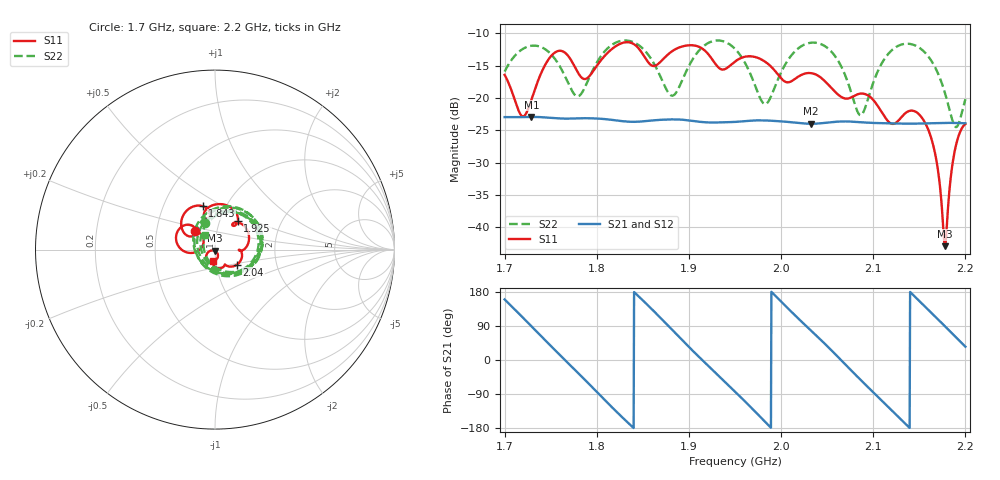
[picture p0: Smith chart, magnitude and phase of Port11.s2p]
# Hz S RI R 50
! CMT, CMT808U, 21440046, 21.4.3/4
! Date: 6/12/2026 9:35:09 AM
! Data: Format (Calibration Info)
! Freq	S11:Re/Im(F2)	S41:Re/Im(F2)	S14:Re/Im(F2)	S44:Re/Im(F2)
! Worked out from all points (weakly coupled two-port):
!   1001 points, 1.7 GHz to 2.2 GHz, reference 50 ohm
!   highest |S21| = -22.93 dB at 1.729 GHz (marker M1); lowest = -24.0 dB at 2.033 GHz (marker M2)
!   lowest |S11| = -42.9 dB at 2.178 GHz (marker M3), VSWR 1.01, Z = 49.8 - j0.68 ohm
!   |S11| at or under -10 dB: start of sweep to end of sweep
!   |S22| runs from -24.5 to -11.1 dB; largest |S21 - S12| = 0.0012
!   S11 on the Smith chart (normalised r, x): 1.7 GHz: 0.78, +0.16; 1.843 GHz: 0.78, +0.40; 1.925 GHz: 1.22, +0.40; 2.04 GHz: 1.26, -0.22; 2.2 GHz: 0.97, -0.12
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1.7e9  -0.112 0.1012  -0.0668 0.0245  -0.0669 0.0234  -0.0536 0.1506
1.7185e9  -0.0651 0.0325  -0.0303 0.0644  -0.0311 0.0637  0.115 0.2065
1.729e9  -0.0963 -0.00848  0.000813 0.0714  -0.000236 0.0711  0.2047 0.1493
1.7565e9  -0.2169 0.073  0.0648 0.0257  0.0641 0.0266  0.1588 -0.1081
1.7835e9  -0.1065 0.0967  0.0508 -0.0478  0.0513 -0.0468  -0.107 -0.019
1.8135e9  -0.1878 0.1318  -0.0314 -0.0605  -0.0303 -0.0608  0.0583 0.2414
1.843e9  -0.0694 0.2422  -0.0651 0.00735  -0.0649 0.00632  0.2627 0.0143
1.867e9  -0.056 0.1756  -0.0302 0.0606  -0.031 0.0598  0.0552 -0.1477
1.8835e9  -0.0426 0.2304  0.0171 0.0662  0.0159 0.0662  -0.1004 -0.0312
1.9245e9  0.1269 0.1577  0.0594 -0.0256  0.0597 -0.0245  0.1859 0.2002
1.95e9  0.1165 0.1519  0.00772 -0.0649  0.00884 -0.0646  0.2332 -0.0554
1.983e9  0.1861 0.0385  -0.0645 -0.0185  -0.0639 -0.0196  -0.0809 -0.0388
2.0325e9  0.1439 -0.0593  0.0137 0.0618  0.0125 0.0619  0.2324 0.1327
2.0335e9  0.1418 -0.063  0.0161 0.0612  0.015 0.0614  0.2378 0.1236
2.04e9  0.1236 -0.0834  0.0315 0.0552  0.0304 0.0557  0.2589 0.0594
2.086e9  0.0411 -0.1  0.0403 -0.051  0.0411 -0.0502  -0.0664 -0.0317
2.117e9  -0.00843 -0.0646  -0.0372 -0.0517  -0.0362 -0.0522  0.0752 0.209
2.157e9  -0.0492 -0.0391  -0.0481 0.0416  -0.0488 0.0407  0.2088 -0.0729
2.1685e9  -0.0317 -0.00943  -0.0235 0.0595  -0.0245 0.059  0.1089 -0.1241
2.178e9  -0.00215 -0.00683  0.00167 0.0642  0.000496 0.0641  0.0172 -0.1069
2.188e9  0.0165 -0.0338  0.028 0.0577  0.0269 0.0582  -0.05 -0.0356
2.2e9  -0.0106 -0.062  0.0521 0.0368  0.0514 0.0377  -0.0552 0.0809
